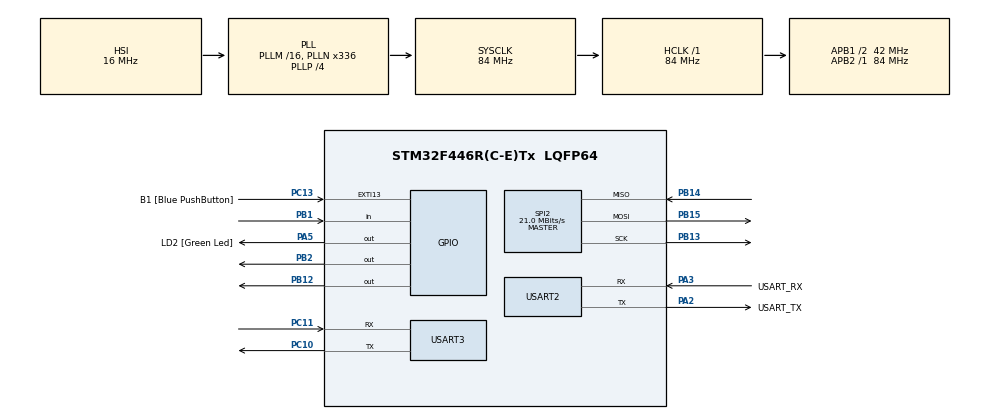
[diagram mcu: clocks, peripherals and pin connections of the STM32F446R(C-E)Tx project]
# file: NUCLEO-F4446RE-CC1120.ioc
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Mcu.Family=STM32F4
Mcu.Name=STM32F446R(C-E)Tx
Mcu.Package=LQFP64
NVIC.PriorityGroup=NVIC_PRIORITYGROUP_0
PA13.GPIO_Label=TMS
PA13.Mode=Serial_Wire
PA13.Signal=SYS_JTMS-SWDIO
PA14.GPIO_Label=TCK
PA14.Mode=Serial_Wire
PA14.Signal=SYS_JTCK-SWCLK
PA2.GPIO_Label=USART_TX
PA2.Mode=Asynchronous
PA2.Signal=USART2_TX
PA3.GPIO_Label=USART_RX
PA3.Mode=Asynchronous
PA3.Signal=USART2_RX
PA5.GPIO_Label=LD2 [Green Led]
PA5.Signal=GPIO_Output
PB1.Signal=GPIO_Input
PB12.Signal=GPIO_Output
PB13.Mode=Full_Duplex_Master
PB13.Signal=SPI2_SCK
PB14.Mode=Full_Duplex_Master
PB14.Signal=SPI2_MISO
PB15.Mode=Full_Duplex_Master
PB15.Signal=SPI2_MOSI
PB2.Signal=GPIO_Output
PB3.GPIO_Label=SWO
PB3.Signal=SYS_JTDO-SWO
PC10.Mode=Asynchronous
PC10.Signal=USART3_TX
PC11.Mode=Asynchronous
PC11.Signal=USART3_RX
PC13.GPIO_Label=B1 [Blue PushButton]
PC13.GPIO_ModeDefaultEXTI=GPIO_MODE_IT_FALLING
PC13.Signal=GPXTI13
PC14-OSC32_IN.Mode=LSE-External-Oscillator
PC14-OSC32_IN.Signal=RCC_OSC32_IN
PC15-OSC32_OUT.Mode=LSE-External-Oscillator
PC15-OSC32_OUT.Signal=RCC_OSC32_OUT
PH0-OSC_IN.Mode=HSE-External-Oscillator
PH0-OSC_IN.Signal=RCC_OSC_IN
PH1-OSC_OUT.Mode=HSE-External-Oscillator
PH1-OSC_OUT.Signal=RCC_OSC_OUT
ProjectManager.HeapSize=0x200
ProjectManager.StackSize=0x400
ProjectManager.TargetToolchain=STM32CubeIDE
RCC.48MHZClocksFreq_Value=84000000
RCC.AHBFreq_Value=84000000
RCC.APB1CLKDivider=RCC_HCLK_DIV2
RCC.APB1Freq_Value=42000000
RCC.APB1TimFreq_Value=84000000
RCC.APB2Freq_Value=84000000
RCC.APB2TimFreq_Value=84000000
RCC.CortexFreq_Value=84000000
RCC.FLatency-AdvancedSettings=FLASH_LATENCY_2
RCC.HCLKFreq_Value=84000000
RCC.HSE_VALUE=8000000
RCC.HSI_VALUE=16000000
RCC.PLLN=336
RCC.PLLP=RCC_PLLP_DIV4
RCC.SYSCLKFreq_VALUE=84000000
RCC.SYSCLKSource=RCC_SYSCLKSOURCE_PLLCLK
RCC.USBFreq_Value=168000000
RCC.VCOOutputFreq_Value=336000000
SPI2.CalculateBaudRate=21.0 MBits/s
SPI2.Direction=SPI_DIRECTION_2LINES
SPI2.Mode=SPI_MODE_MASTER
SPI2.VirtualType=VM_MASTER
USART2.VirtualMode=VM_ASYNC
USART3.VirtualMode=VM_ASYNC
board=NUCLEO-F446RE

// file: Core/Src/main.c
/* USER CODE BEGIN Header */
/**
  ******************************************************************************
  * @file           : main.c
  * @brief          : Main program body
  ******************************************************************************
  * @attention
  *
  * <h2><center>&copy; Copyright (c) 2021 STMicroelectronics.
  * All rights reserved.</center></h2>
  *
  * This software component is licensed by ST under BSD 3-Clause license,
  * the "License"; You may not use this file except in compliance with the
  * License. You may obtain a copy of the License at:
  *                        opensource.org/licenses/BSD-3-Clause
  *
  ******************************************************************************
  */
/* USER CODE END Header */
#include "main.h"

/* USER CODE BEGIN Includes */
#include "stdio.h"
#include "string.h"
#include "cc1120.h"
#include "uart.h"
/* USER CODE END Includes */

SPI_HandleTypeDef hspi2;

UART_HandleTypeDef huart2;
UART_HandleTypeDef huart3;

void SystemClock_Config(void);
static void MX_GPIO_Init(void);
static void MX_USART2_UART_Init(void);
static void MX_SPI2_Init(void);
static void MX_USART3_UART_Init(void);

int main(void)
{
  /* USER CODE BEGIN 1 */
	char uart_buf[50];
	uint8_t uart_buf_len;

	char spi_buf[50];
	uint8_t spi_buf_len;
	uint16_t count;
  /* USER CODE END 1 */

  /* MCU Configuration--------------------------------------------------------*/

  /* Reset of all peripherals, Initializes the Flash interface and the Systick. */
  HAL_Init();

  /* USER CODE BEGIN Init */
  count = 0;

  /* USER CODE END Init */

  /* Configure the system clock */
  SystemClock_Config();

  /* USER CODE BEGIN SysInit */
  CC_UART_Init(&huart2);
  CC_SPI_Init(&hspi2);
  HAL_GPIO_WritePin(GPIOB, GPIO_PIN_12, GPIO_PIN_SET); // CSN pin pulled high, disables transfer to chip.

  /* USER CODE END SysInit */

  /* Initialize all configured peripherals */
  MX_GPIO_Init();
  MX_USART2_UART_Init();
  MX_SPI2_Init();
  MX_USART3_UART_Init();
  /* USER CODE BEGIN 2 */
  //printToTerminal("PROGRAM START\n\r");

  /* USER CODE END 2 */

  /* Infinite loop */
  /* USER CODE BEGIN WHILE */
  while (1)
  {
	  strcpy((char*) uart_buf, "3\r\n");
	  HAL_UART_Transmit(&huart3, uart_buf, strlen((char*)uart_buf) , 100);
	  HAL_Delay(100);

	  strcpy((char*) uart_buf, "5\r\n");
	  HAL_UART_Transmit(&huart3, uart_buf, strlen((char*)uart_buf) , 100);
	  HAL_Delay(100);

	  strcpy((char*) uart_buf, "6\r\n");
	  HAL_UART_Transmit(&huart2, uart_buf, strlen((char*)uart_buf) , 100);
	  HAL_Delay(100);

	  HAL_GPIO_TogglePin(GPIOA, GPIO_PIN_5);
	  HAL_Delay(3000);
    /* USER CODE END WHILE */

  }
}

void SystemClock_Config(void)
{
  RCC_OscInitTypeDef RCC_OscInitStruct = {0};
  RCC_ClkInitTypeDef RCC_ClkInitStruct = {0};

  /** Configure the main internal regulator output voltage
  */
  __HAL_RCC_PWR_CLK_ENABLE();
  __HAL_PWR_VOLTAGESCALING_CONFIG(PWR_REGULATOR_VOLTAGE_SCALE3);
  /** Initializes the RCC Oscillators according to the specified parameters
  * in the RCC_OscInitTypeDef structure.
  */
  RCC_OscInitStruct.OscillatorType = RCC_OSCILLATORTYPE_HSI;
  RCC_OscInitStruct.HSIState = RCC_HSI_ON;
  RCC_OscInitStruct.HSICalibrationValue = RCC_HSICALIBRATION_DEFAULT;
  RCC_OscInitStruct.PLL.PLLState = RCC_PLL_ON;
  RCC_OscInitStruct.PLL.PLLSource = RCC_PLLSOURCE_HSI;
  RCC_OscInitStruct.PLL.PLLM = 16;
  RCC_OscInitStruct.PLL.PLLN = 336;
  RCC_OscInitStruct.PLL.PLLP = RCC_PLLP_DIV4;
  RCC_OscInitStruct.PLL.PLLQ = 2;
  RCC_OscInitStruct.PLL.PLLR = 2;
  if (HAL_RCC_OscConfig(&RCC_OscInitStruct) != HAL_OK)
  {
    Error_Handler();
  }
  /** Initializes the CPU, AHB and APB buses clocks
  */
  RCC_ClkInitStruct.ClockType = RCC_CLOCKTYPE_HCLK|RCC_CLOCKTYPE_SYSCLK
                              |RCC_CLOCKTYPE_PCLK1|RCC_CLOCKTYPE_PCLK2;
  RCC_ClkInitStruct.SYSCLKSource = RCC_SYSCLKSOURCE_PLLCLK;
  RCC_ClkInitStruct.AHBCLKDivider = RCC_SYSCLK_DIV1;
  RCC_ClkInitStruct.APB1CLKDivider = RCC_HCLK_DIV2;
  RCC_ClkInitStruct.APB2CLKDivider = RCC_HCLK_DIV1;

  if (HAL_RCC_ClockConfig(&RCC_ClkInitStruct, FLASH_LATENCY_2) != HAL_OK)
  {
    Error_Handler();
  }
}

static void MX_SPI2_Init(void)
{

  /* SPI2 parameter configuration*/
  hspi2.Instance = SPI2;
  hspi2.Init.Mode = SPI_MODE_MASTER;
  hspi2.Init.Direction = SPI_DIRECTION_2LINES;
  hspi2.Init.DataSize = SPI_DATASIZE_8BIT;
  hspi2.Init.CLKPolarity = SPI_POLARITY_LOW;
  hspi2.Init.CLKPhase = SPI_PHASE_1EDGE;
  hspi2.Init.NSS = SPI_NSS_SOFT;
  hspi2.Init.BaudRatePrescaler = SPI_BAUDRATEPRESCALER_2;
  hspi2.Init.FirstBit = SPI_FIRSTBIT_MSB;
  hspi2.Init.TIMode = SPI_TIMODE_DISABLE;
  hspi2.Init.CRCCalculation = SPI_CRCCALCULATION_DISABLE;
  hspi2.Init.CRCPolynomial = 10;
  if (HAL_SPI_Init(&hspi2) != HAL_OK)
  {
    Error_Handler();
  }

}

static void MX_USART2_UART_Init(void)
{

  huart2.Instance = USART2;
  huart2.Init.BaudRate = 115200;
  huart2.Init.WordLength = UART_WORDLENGTH_8B;
  huart2.Init.StopBits = UART_STOPBITS_1;
  huart2.Init.Parity = UART_PARITY_NONE;
  huart2.Init.Mode = UART_MODE_TX_RX;
  huart2.Init.HwFlowCtl = UART_HWCONTROL_NONE;
  huart2.Init.OverSampling = UART_OVERSAMPLING_16;
  if (HAL_UART_Init(&huart2) != HAL_OK)
  {
    Error_Handler();
  }

}

static void MX_USART3_UART_Init(void)
{

  huart3.Instance = USART3;
  huart3.Init.BaudRate = 115200;
  huart3.Init.WordLength = UART_WORDLENGTH_8B;
  huart3.Init.StopBits = UART_STOPBITS_1;
  huart3.Init.Parity = UART_PARITY_NONE;
  huart3.Init.Mode = UART_MODE_TX_RX;
  huart3.Init.HwFlowCtl = UART_HWCONTROL_NONE;
  huart3.Init.OverSampling = UART_OVERSAMPLING_16;
  if (HAL_UART_Init(&huart3) != HAL_OK)
  {
    Error_Handler();
  }

}

static void MX_GPIO_Init(void)
{
  GPIO_InitTypeDef GPIO_InitStruct = {0};

  /* GPIO Ports Clock Enable */
  __HAL_RCC_GPIOC_CLK_ENABLE();
  __HAL_RCC_GPIOH_CLK_ENABLE();
  __HAL_RCC_GPIOA_CLK_ENABLE();
  __HAL_RCC_GPIOB_CLK_ENABLE();

  /*Configure GPIO pin Output Level */
  HAL_GPIO_WritePin(LD2_GPIO_Port, LD2_Pin, GPIO_PIN_RESET);

  /*Configure GPIO pin Output Level */
  HAL_GPIO_WritePin(GPIOB, GPIO_PIN_2|GPIO_PIN_12, GPIO_PIN_RESET);

  /*Configure GPIO pin : B1_Pin */
  GPIO_InitStruct.Pin = B1_Pin;
  GPIO_InitStruct.Mode = GPIO_MODE_IT_FALLING;
  GPIO_InitStruct.Pull = GPIO_NOPULL;
  HAL_GPIO_Init(B1_GPIO_Port, &GPIO_InitStruct);

  /*Configure GPIO pin : LD2_Pin */
  GPIO_InitStruct.Pin = LD2_Pin;
  GPIO_InitStruct.Mode = GPIO_MODE_OUTPUT_PP;
  GPIO_InitStruct.Pull = GPIO_NOPULL;
  GPIO_InitStruct.Speed = GPIO_SPEED_FREQ_LOW;
  HAL_GPIO_Init(LD2_GPIO_Port, &GPIO_InitStruct);

  /*Configure GPIO pin : PB1 */
  GPIO_InitStruct.Pin = GPIO_PIN_1;
  GPIO_InitStruct.Mode = GPIO_MODE_INPUT;
  GPIO_InitStruct.Pull = GPIO_NOPULL;
  HAL_GPIO_Init(GPIOB, &GPIO_InitStruct);

  /*Configure GPIO pins : PB2 PB12 */
  GPIO_InitStruct.Pin = GPIO_PIN_2|GPIO_PIN_12;
  GPIO_InitStruct.Mode = GPIO_MODE_OUTPUT_PP;
  GPIO_InitStruct.Pull = GPIO_NOPULL;
  GPIO_InitStruct.Speed = GPIO_SPEED_FREQ_LOW;
  HAL_GPIO_Init(GPIOB, &GPIO_InitStruct);

}

void Error_Handler(void)
{
}

/************************ (C) COPYRIGHT STMicroelectronics *****END OF FILE****/
